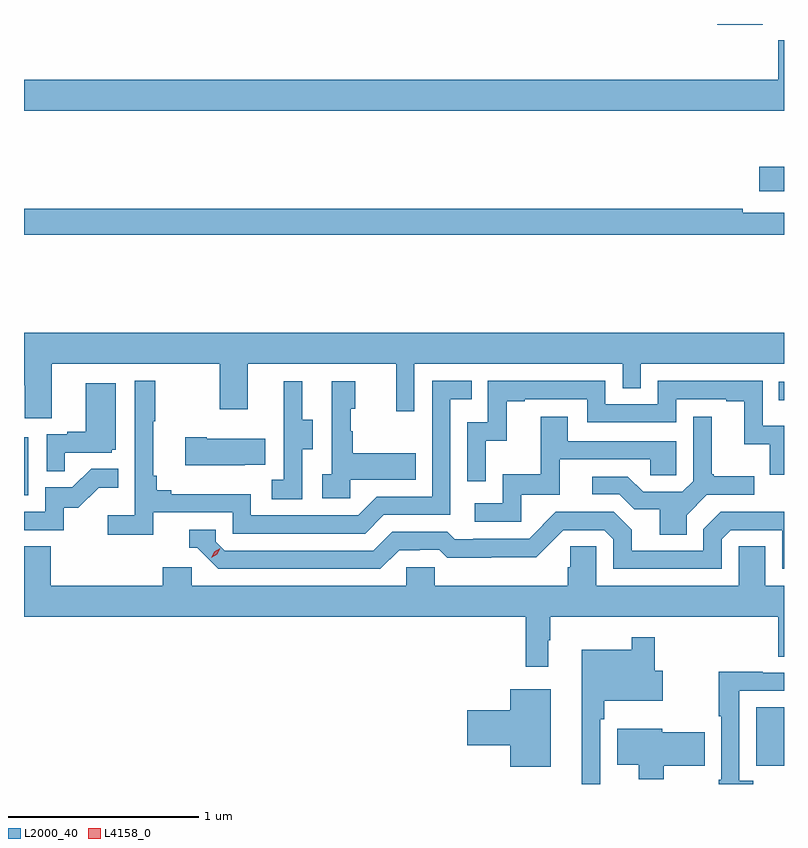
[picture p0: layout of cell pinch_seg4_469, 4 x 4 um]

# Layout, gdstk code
import gdstk
lib = gdstk.Library(unit=1e-6, precision=1e-09)
def R(c, l, rs):  # rectangles x0, y0, x1, y1
    for r in rs: c.add(gdstk.rectangle(r[:2], r[2:], *l))
def P(c, l, *ps):  # polygons
    for p in ps: c.add(gdstk.Polygon(p, *l))
L2000_40 = (2000, 40)
L4158_0 = (4158, 0)

pinch_seg4_469 = lib.new_cell('pinch_seg4_469')
R(pinch_seg4_469, L2000_40, [(912.794,753.414,912.94,753.721), (908.94,754.836,908.962,755.143), (912.913,755.336,912.94,755.433), (912.81,756.437,912.94,756.567), (912.589,757.312,912.827,757.317)])
P(pinch_seg4_469, L2000_40, [(912.94,757.232),(912.911,757.232),(912.911,757.024),(908.94,757.024),(908.94,756.86),(912.94,756.86)],
  [(912.94,756.324),(912.722,756.324),(912.722,756.344),(908.94,756.344),(908.94,756.208),(912.94,756.208)],
  [(909.085,755.528),(909.97,755.528),(909.97,755.289),(910.117,755.289),(910.117,755.528),(910.898,755.528),(910.898,755.28),(910.995,755.28),(910.995,755.528),(912.09,755.528),(912.09,755.401),(912.186,755.401),(912.186,755.528),(912.94,755.528),(912.94,755.692),(908.94,755.692),(908.94,755.416),(908.945,755.416),(908.945,755.242),(909.085,755.242)],
  [(909.62,754.746),(910.038,754.746),(910.038,754.635),(910.735,754.635),(910.834,754.734),(911.184,754.734),(911.184,755.343),(911.297,755.343),(911.297,755.439),(911.088,755.439),(911.088,754.83),(910.797,754.83),(910.698,754.731),(910.134,754.731),(910.134,754.843),(909.715,754.843),(909.715,754.862),(909.638,754.862),(909.638,754.939),(909.619,754.939),(909.619,755.227),(909.631,755.227),(909.631,755.44),(909.522,755.44),(909.522,754.732),(909.381,754.732),(909.381,754.63),(909.62,754.63)],
  [(911.37,755.123),(911.48,755.123),(911.48,755.331),(911.575,755.331),(911.575,755.343),(911.904,755.343),(911.904,755.22),(912.372,755.22),(912.372,755.343),(912.635,755.343),(912.635,755.331),(912.731,755.331),(912.731,755.105),(912.864,755.105),(912.864,754.944),(912.94,754.944),(912.94,755.203),(912.828,755.203),(912.828,755.439),(912.276,755.439),(912.276,755.316),(912,755.316),(912,755.439),(911.382,755.439),(911.382,755.22),(911.274,755.22),(911.274,754.911),(911.37,754.911)],
  [(910.404,755.08),(910.459,755.08),(910.459,755.235),(910.405,755.235),(910.405,755.437),(910.307,755.437),(910.307,755.223),(910.308,755.223),(910.308,754.919),(910.245,754.919),(910.245,754.816),(910.404,754.816)],
  [(910.656,754.919),(911.003,754.919),(911.003,755.059),(910.669,755.059),(910.669,755.174),(910.659,755.174),(910.659,755.292),(910.684,755.292),(910.684,755.437),(910.56,755.437),(910.56,754.946),(910.509,754.946),(910.509,754.821),(910.656,754.821)],
  [(909.155,755.061),(909.402,755.061),(909.402,755.076),(909.424,755.076),(909.424,755.425),(909.266,755.425),(909.266,755.17),(909.167,755.17),(909.167,755.157),(909.06,755.157),(909.06,754.963),(909.155,754.963)],
  [(912.427,754.732),(912.534,754.839),(912.784,754.839),(912.784,754.936),(912.571,754.936),(912.571,754.948),(912.559,754.948),(912.559,755.251),(912.462,755.251),(912.462,754.911),(912.405,754.854),(912.199,754.854),(912.118,754.935),(911.931,754.935),(911.931,754.842),(912.072,754.842),(912.152,754.762),(912.287,754.762),(912.287,754.63),(912.427,754.63)],
  [(911.556,754.839),(911.761,754.839),(911.761,755.025),(912.235,755.025),(912.235,754.941),(912.372,754.941),(912.372,755.121),(911.803,755.121),(911.803,755.251),(911.659,755.251),(911.659,754.948),(911.46,754.948),(911.46,754.794),(911.313,754.794),(911.313,754.698),(911.556,754.698)],
  [(910.103,754.997),(910.211,754.997),(910.211,755.134),(909.901,755.134),(909.901,755.142),(909.789,755.142),(909.789,754.994),(910.103,754.994)],
  [(909.15,754.77),(909.226,754.77),(909.333,754.877),(909.437,754.877),(909.437,754.976),(909.293,754.976),(909.195,754.878),(909.051,754.878),(909.051,754.749),(908.94,754.749),(908.94,754.653),(909.15,754.653)],
  [(910.915,754.548),(911.022,754.548),(911.022,754.551),(911.125,754.551),(911.167,754.509),(911.4,754.509),(911.4,754.511),(911.636,754.511),(911.778,754.653),(911.994,754.653),(912.042,754.605),(912.042,754.449),(912.612,754.449),(912.612,754.605),(912.66,754.653),(912.93,754.653),(912.93,754.449),(912.94,754.449),(912.94,754.751),(912.822,754.751),(912.822,754.749),(912.606,754.749),(912.516,754.659),(912.516,754.545),(912.139,754.545),(912.139,754.655),(912.045,754.749),(911.739,754.749),(911.598,754.608),(911.305,754.608),(911.305,754.605),(911.206,754.605),(911.167,754.644),(910.878,754.644),(910.779,754.545),(909.996,754.545),(909.948,754.593),(909.948,754.656),(909.809,754.656),(909.809,754.56),(909.852,754.56),(909.963,754.449),(910.816,754.449)],
  [(911.698,754.073),(911.71,754.073),(911.71,754.196),(912.911,754.196),(912.911,753.988),(912.94,753.988),(912.94,754.36),(912.841,754.36),(912.841,754.568),(912.702,754.568),(912.702,754.36),(911.952,754.36),(911.952,754.568),(911.815,754.568),(911.815,754.458),(911.801,754.458),(911.801,754.36),(911.103,754.36),(911.103,754.458),(910.953,754.458),(910.953,754.36),(909.822,754.36),(909.822,754.458),(909.671,754.458),(909.671,754.36),(909.08,754.36),(909.08,754.568),(908.94,754.568),(908.94,754.196),(911.581,754.196),(911.581,753.933),(911.698,753.933)],
  [(911.973,753.659),(911.993,753.659),(911.993,753.755),(912.301,753.755),(912.301,753.913),(912.259,753.913),(912.259,754.09),(912.138,754.09),(912.138,754.024),(911.876,754.024),(911.876,753.317),(911.973,753.317)],
  [(912.778,753.333),(912.705,753.333),(912.705,753.807),(912.94,753.807),(912.94,753.903),(912.827,753.903),(912.827,753.908),(912.597,753.908),(912.597,753.673),(912.609,753.673),(912.609,753.34),(912.597,753.34),(912.597,753.317),(912.778,753.317)],
  [(911.713,753.817),(911.498,753.817),(911.498,753.704),(911.274,753.704),(911.274,753.521),(911.498,753.521),(911.498,753.407),(911.713,753.407)],
  [(912.306,753.412),(912.523,753.412),(912.523,753.59),(912.298,753.59),(912.298,753.607),(912.062,753.607),(912.062,753.419),(912.176,753.419),(912.176,753.341),(912.306,753.341)])
P(pinch_seg4_469, L4158_0, [(909.925,754.507),(909.925,754.507),(909.941,754.539),(909.972,754.558),(909.973,754.558),(909.973,754.558),(909.956,754.526),(909.925,754.507)])

lib.write_gds('pinch_seg4_469.gds')
